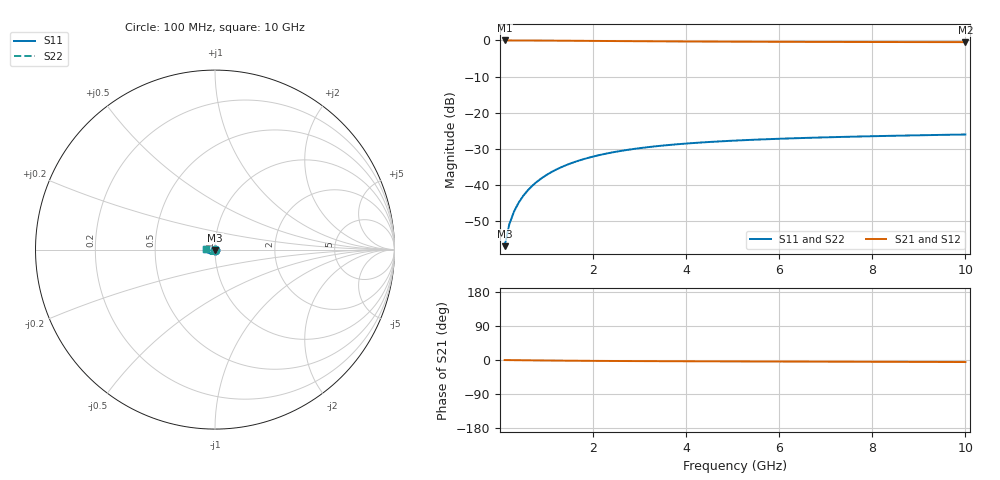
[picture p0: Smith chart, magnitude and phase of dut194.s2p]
! Touchstone file exported from HFSS 2024.1.0
!  File:  C:/UserFiles/LocalFiles/RDL_TSV_Batchsim/temp_TSV1_194_1779385248.aedt
!  Generated:  01:46:31 AM May 22, 2026
!  Design:  TSV1
!  Project:  temp_TSV1_194_1779385248
!  Setup:  Setup1
!  Solution:  Sweep
! Variables:
!  dtsv = 11.77um
!  hbump = 3um
!  htsv = 82.68um
!  lrdl = 252.1521522um
!  p = 40
!  p1 = 56.03um
!  t = 500um
!  trdl = 3um
!  wrdl = 24.89489489um
# GHz S MA R 50.000000
! Terminal data exported
! Port[1] = TSV22_T1
! Port[2] = TSV22_T2
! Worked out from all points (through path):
!   100 points, 100 MHz to 10 GHz, reference 50 ohm
!   highest |S21| = 0.00 dB at 100 MHz (marker M1); lowest = -0.5 dB at 10 GHz (marker M2)
!   lowest |S11| = -56.9 dB at 100 MHz (marker M3), VSWR 1.00, Z = 50 - j0.143 ohm
!   |S11| at or under -10 dB: start of sweep to end of sweep
!   |S22| runs from -56.9 to -26.0 dB; largest |S21 - S12| = 1.7e-14
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0.1  0.001436 -87.7  0.9998 -0.1  0.9998 -0.1  0.001436 -87.7
! Gamma 0 0 0 0
! Port Impedance 50 0 50 0
0.2  0.002865 -91.6  0.9997 -0.3  0.9997 -0.3  0.002865 -91.6
0.3  0.004293 -94.1  0.9994 -0.4  0.9994 -0.4  0.004293 -94.1
0.4  0.005713 -96.4  0.9991 -0.5  0.9991 -0.5  0.005713 -96.4
0.5  0.007122 -98.5  0.9986 -0.7  0.9986 -0.7  0.007122 -98.5
0.6  0.008513 -100.5  0.9981 -0.8  0.9981 -0.8  0.008513 -100.5
0.7  0.009884 -102.5  0.9975 -0.9  0.9975 -0.9  0.009884 -102.5
0.8  0.01123 -104.4  0.9969 -1.1  0.9969 -1.1  0.01123 -104.4
0.9  0.01255 -106.3  0.9961 -1.2  0.9961 -1.2  0.01255 -106.3
1.1  0.0151 -110.0  0.9945 -1.4  0.9945 -1.4  0.0151 -110.0
1.4  0.01867 -115.3  0.9918 -1.7  0.9918 -1.7  0.01867 -115.3
1.6  0.02087 -118.6  0.9898 -1.9  0.9898 -1.9  0.02087 -118.6
1.8  0.02292 -121.8  0.9877 -2.1  0.9877 -2.1  0.02292 -121.8
2.1  0.02574 -126.3  0.9846 -2.3  0.9846 -2.3  0.02574 -126.3
2.5  0.02902 -131.8  0.9806 -2.6  0.9806 -2.6  0.02902 -131.8
2.9  0.03182 -136.7  0.9768 -2.9  0.9768 -2.9  0.03182 -136.7
3.4  0.03474 -142.3  0.9724 -3.1  0.9724 -3.1  0.03474 -142.3
4.2  0.0384 -149.9  0.9666 -3.4  0.9666 -3.4  0.0384 -149.9
5.1  0.04145 -157.1  0.9615 -3.8  0.9615 -3.8  0.04145 -157.1
6.7  0.04525 -167.3  0.9552 -4.3  0.9552 -4.3  0.04525 -167.3
8.4  0.04808 -176.0  0.9508 -4.8  0.9508 -4.8  0.04808 -176.0
10  0.05018 177.2  0.9481 -5.4  0.9481 -5.4  0.05018 177.2
